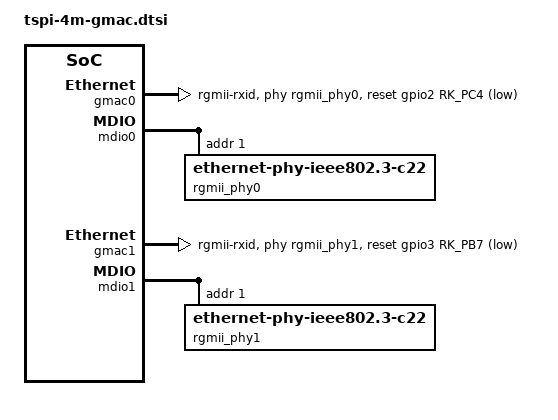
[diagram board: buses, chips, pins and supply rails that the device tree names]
&gmac0 {
	/* Use rgmii-rxid mode to disable rx delay inside Soc */
	phy-mode = "rgmii-rxid";
	clock_in_out = "output";

	snps,reset-gpio = <&gpio2 RK_PC4 GPIO_ACTIVE_LOW>;

	snps,reset-active-low;
	/* Reset time is 20ms, 100ms for rtl8211f */
	snps,reset-delays-us = <0 20000 100000>;
	pinctrl-names = "default";
	pinctrl-0 = <&gmac0_miim
		     &gmac0_tx_bus2
		     &gmac0_rx_bus2
		     &gmac0_rgmii_clk
		     &gmac0_rgmii_bus>;

	 tx_delay = <0x3d>;
	// rx_delay = <0x30>;

	phy-handle = <&rgmii_phy0>;
	status = "okay";

};

&mdio0 {
	rgmii_phy0: phy@1 {
		compatible = "ethernet-phy-ieee802.3-c22";
		reg = <0x1>;
	};
};


&gmac1 {
	/* Use rgmii-rxid mode to disable rx delay inside Soc */
	phy-mode = "rgmii-rxid";
	clock_in_out = "output";

	snps,reset-gpio = <&gpio3 RK_PB7 GPIO_ACTIVE_LOW>;
	snps,reset-active-low;
	/* Reset time is 20ms, 100ms for rtl8211f */
	snps,reset-delays-us = <0 20000 100000>;
	pinctrl-names = "default";
	pinctrl-0 = <&gmac1_miim
		     &gmac1_tx_bus2
		     &gmac1_rx_bus2
		     &gmac1_rgmii_clk
		     &gmac1_rgmii_bus>;

	tx_delay = <0x3a>;
	// rx_delay = <0x33>;

	phy-handle = <&rgmii_phy1>;
	status = "okay";
};



&mdio1 {
	rgmii_phy1: phy@1 {
		compatible = "ethernet-phy-ieee802.3-c22";
		reg = <0x1>;
	};
};
